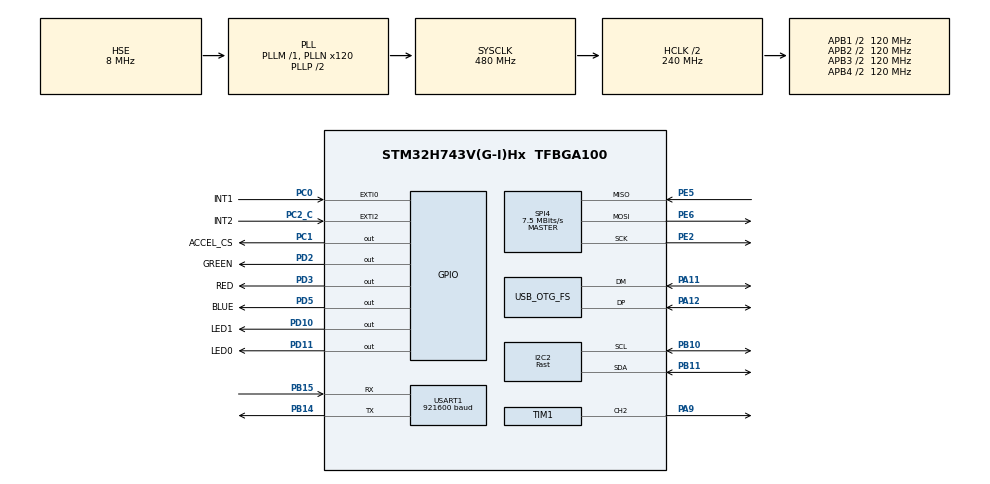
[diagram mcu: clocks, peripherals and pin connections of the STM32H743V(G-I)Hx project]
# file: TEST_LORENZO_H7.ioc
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CORTEX_M7.default_mode_Activation=1
Dma.Request0=USART1_RX
Dma.Request1=TIM1_CH2
Dma.TIM1_CH2.1.Direction=DMA_MEMORY_TO_PERIPH
Dma.TIM1_CH2.1.EventEnable=DISABLE
Dma.TIM1_CH2.1.FIFOMode=DMA_FIFOMODE_DISABLE
Dma.TIM1_CH2.1.Instance=DMA1_Stream0
Dma.TIM1_CH2.1.MemDataAlignment=DMA_MDATAALIGN_WORD
Dma.TIM1_CH2.1.MemInc=DMA_MINC_ENABLE
Dma.TIM1_CH2.1.Mode=DMA_NORMAL
Dma.TIM1_CH2.1.PeriphDataAlignment=DMA_PDATAALIGN_WORD
Dma.TIM1_CH2.1.PeriphInc=DMA_PINC_DISABLE
Dma.TIM1_CH2.1.Polarity=HAL_DMAMUX_REQ_GEN_RISING
Dma.TIM1_CH2.1.Priority=DMA_PRIORITY_LOW
Dma.TIM1_CH2.1.RequestNumber=1
Dma.TIM1_CH2.1.SignalID=NONE
Dma.TIM1_CH2.1.SyncEnable=DISABLE
Dma.TIM1_CH2.1.SyncPolarity=HAL_DMAMUX_SYNC_NO_EVENT
Dma.TIM1_CH2.1.SyncRequestNumber=1
Dma.TIM1_CH2.1.SyncSignalID=NONE
Dma.USART1_RX.0.Direction=DMA_PERIPH_TO_MEMORY
Dma.USART1_RX.0.EventEnable=DISABLE
Dma.USART1_RX.0.FIFOMode=DMA_FIFOMODE_DISABLE
Dma.USART1_RX.0.Instance=DMA1_Stream1
Dma.USART1_RX.0.MemDataAlignment=DMA_MDATAALIGN_BYTE
Dma.USART1_RX.0.MemInc=DMA_MINC_ENABLE
Dma.USART1_RX.0.Mode=DMA_CIRCULAR
Dma.USART1_RX.0.PeriphDataAlignment=DMA_PDATAALIGN_BYTE
Dma.USART1_RX.0.PeriphInc=DMA_PINC_DISABLE
Dma.USART1_RX.0.Polarity=HAL_DMAMUX_REQ_GEN_RISING
Dma.USART1_RX.0.Priority=DMA_PRIORITY_LOW
Dma.USART1_RX.0.RequestNumber=1
Dma.USART1_RX.0.SignalID=NONE
Dma.USART1_RX.0.SyncEnable=DISABLE
Dma.USART1_RX.0.SyncPolarity=HAL_DMAMUX_SYNC_NO_EVENT
Dma.USART1_RX.0.SyncRequestNumber=1
Dma.USART1_RX.0.SyncSignalID=NONE
FREERTOS.INCLUDE_uxTaskGetStackHighWaterMark2=1
FREERTOS.INCLUDE_vTaskDelayUntil=1
FREERTOS.Tasks01=maintask,0,256,Startmaintask,Default,NULL,Dynamic,NULL,NULL;lidarparse,-3,500,Startlidarparse,Default,NULL,Dynamic,NULL,NULL
FREERTOS.configUSE_NEWLIB_REENTRANT=1
I2C2.I2C_Speed_Mode=I2C_Fast
I2C2.Timing=0x00B03FDB
Mcu.Family=STM32H7
Mcu.Name=STM32H743V(G-I)Hx
Mcu.Package=TFBGA100
NVIC.DMA1_Stream0_IRQn=true\:5\:0\:false\:false\:true\:true\:false\:true\:true
NVIC.DMA1_Stream1_IRQn=true\:5\:0\:false\:false\:true\:true\:false\:true\:true
NVIC.EXTI0_IRQn=true\:5\:0\:false\:false\:true\:true\:true\:true\:true
NVIC.EXTI2_IRQn=true\:5\:0\:false\:false\:true\:true\:true\:true\:true
NVIC.OTG_FS_IRQn=true\:5\:0\:false\:false\:true\:true\:false\:true\:true
NVIC.PriorityGroup=NVIC_PRIORITYGROUP_4
NVIC.TIM2_IRQn=true\:15\:0\:false\:false\:true\:false\:false\:true\:true
NVIC.TimeBase=TIM2_IRQn
NVIC.TimeBaseIP=TIM2
PA11.Mode=Device_Only
PA11.Signal=USB_OTG_FS_DM
PA12.Mode=Device_Only
PA12.Signal=USB_OTG_FS_DP
PA13\ (JTMS/SWDIO).Mode=Serial_Wire
PA13\ (JTMS/SWDIO).Signal=DEBUG_JTMS-SWDIO
PA14\ (JTCK/SWCLK).Mode=Serial_Wire
PA14\ (JTCK/SWCLK).Signal=DEBUG_JTCK-SWCLK
PA9.Signal=S_TIM1_CH2
PB10.GPIO_Pu=GPIO_NOPULL
PB10.Mode=I2C
PB10.Signal=I2C2_SCL
PB11.GPIO_Pu=GPIO_NOPULL
PB11.Mode=I2C
PB11.Signal=I2C2_SDA
PB14.Mode=Asynchronous
PB14.Signal=USART1_TX
PB15.Mode=Asynchronous
PB15.Signal=USART1_RX
PC0.GPIO_Label=INT1
PC0.GPIO_ModeDefaultEXTI=GPIO_MODE_IT_RISING
PC0.Signal=GPXTI0
PC1.GPIO_Label=ACCEL_CS
PC1.Signal=GPIO_Output
PC2_C.GPIO_Label=INT2
PC2_C.Signal=GPXTI2
PD10.GPIO_Label=LED1
PD10.Signal=GPIO_Output
PD11.GPIO_Label=LED0
PD11.Signal=GPIO_Output
PD2.GPIO_Label=GREEN
PD2.Signal=GPIO_Output
PD3.GPIO_Label=RED
PD3.Signal=GPIO_Output
PD5.GPIO_Label=BLUE
PD5.Signal=GPIO_Output
PE2.Mode=Full_Duplex_Master
PE2.Signal=SPI4_SCK
PE5.Mode=Full_Duplex_Master
PE5.Signal=SPI4_MISO
PE6.Mode=Full_Duplex_Master
PE6.Signal=SPI4_MOSI
PH0-OSC_IN\ (PH0).Mode=HSE-External-Oscillator
PH0-OSC_IN\ (PH0).Signal=RCC_OSC_IN
PH1-OSC_OUT\ (PH1).Mode=HSE-External-Oscillator
PH1-OSC_OUT\ (PH1).Signal=RCC_OSC_OUT
ProjectManager.HeapSize=0x200
ProjectManager.StackSize=0x400
ProjectManager.TargetToolchain=STM32CubeIDE
RCC.ADCFreq_Value=75000000
RCC.APB1Freq_Value=120000000
RCC.APB2Freq_Value=120000000
RCC.APB3Freq_Value=120000000
RCC.APB4Freq_Value=120000000
RCC.CortexFreq_Value=480000000
RCC.D1PPRE=RCC_APB3_DIV2
RCC.D2PPRE1=RCC_APB1_DIV2
RCC.D2PPRE2=RCC_APB2_DIV2
RCC.D3PPRE=RCC_APB4_DIV2
RCC.DIVM1=1
RCC.DIVM2=8
RCC.DIVM3=2
RCC.DIVN1=120
RCC.DIVN2=150
RCC.DIVN3=130
RCC.DIVP3=10
RCC.HCLKFreq_Value=240000000
RCC.HPRE=RCC_HCLK_DIV2
RCC.HSE_VALUE=8000000
RCC.PLL2FRACN=0
RCC.PLL3FRACN=0
RCC.PLLFRACN=0
RCC.PLLSourceVirtual=RCC_PLLSOURCE_HSE
RCC.SAI23CLockSelection=RCC_SAI23CLKSOURCE_PLL2
RCC.SPI123CLockSelection=RCC_SPI123CLKSOURCE_PLL3
RCC.SYSCLKFreq_VALUE=480000000
RCC.SYSCLKSource=RCC_SYSCLKSOURCE_PLLCLK
RCC.USBCLockSelection=RCC_USBCLKSOURCE_HSI48
RCC.USBFreq_Value=48000000
SH.S_TIM1_CH2.0=TIM1_CH2,PWM Generation2 CH2
SPI4.BaudRatePrescaler=SPI_BAUDRATEPRESCALER_16
SPI4.CLKPhase=SPI_PHASE_2EDGE
SPI4.CLKPolarity=SPI_POLARITY_HIGH
SPI4.CalculateBaudRate=7.5 MBits/s
SPI4.DataSize=SPI_DATASIZE_8BIT
SPI4.Direction=SPI_DIRECTION_2LINES
SPI4.Mode=SPI_MODE_MASTER
SPI4.VirtualType=VM_MASTER
TIM1.AutoReloadPreload=TIM_AUTORELOAD_PRELOAD_ENABLE
TIM1.Channel-PWM\ Generation2\ CH2=TIM_CHANNEL_2
TIM1.Period=100-1
TIM1.Prescaler=3-1
USART1.BaudRate=921600
USART1.VirtualMode-Asynchronous=VM_ASYNC
USB_DEVICE.CLASS_NAME_FS=CDC
USB_DEVICE.VirtualMode-CDC_FS=Cdc
USB_DEVICE.VirtualModeFS=Cdc_FS
USB_OTG_FS.VirtualMode=Device_Only
VP_FREERTOS_VS_CMSIS_V1.Mode=CMSIS_V1
VP_MEMORYMAP_VS_MEMORYMAP.Mode=CurAppReg
VP_SYS_VS_tim2.Mode=TIM2
VP_TIM1_VS_ClockSourceINT.Mode=Internal
VP_USB_DEVICE_VS_USB_DEVICE_CDC_FS.Mode=CDC_FS
board=custom

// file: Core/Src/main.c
/* USER CODE BEGIN Header */
/**
  ******************************************************************************
  * @file           : main.c
  * @brief          : Main program body
  ******************************************************************************
  * @attention
  *
  * Copyright (c) 2025 STMicroelectronics.
  * All rights reserved.
  *
  * This software is licensed under terms that can be found in the LICENSE file
  * in the root directory of this software component.
  * If no LICENSE file comes with this software, it is provided AS-IS.
  *
  ******************************************************************************
  */
/* USER CODE END Header */
#include "main.h"
#include "cmsis_os.h"
#include "dma.h"
#include "i2c.h"
#include "spi.h"
#include "tim.h"
#include "usart.h"
#include "usb_device.h"
#include "gpio.h"

/* USER CODE BEGIN Includes */
#include "ylidar.h"
#include "adxl343.h"
#include "ssd1306.h"
#include "led.h"
#include "mcc_com_master.h"
/* USER CODE END Includes */

/* USER CODE BEGIN PV */
//extern uint8_t ylidar_circular_buffer[YLIDAR_CIRC_BUF_SIZE];
adxl343_t adxldata;
int flag=0;
uint32_t LEDDMABUF[DMABUFLEN];
uint8_t DMA_COMPLETE_FLAG=0;
extern MOTOR_COM com_struct;

/* USER CODE END PV */

void SystemClock_Config(void);
static void MPU_Config(void);
void MX_FREERTOS_Init(void);

/* USER CODE BEGIN 0 */

void HAL_GPIO_EXTI_Callback(uint16_t GPIO_Pin){

	if(GPIO_Pin == GPIO_PIN_0){

		if(flag == 0 ){
			LED_Setcolour(255,0,0,0,0,255);

		}
		if(flag == 1){
			LED_Setcolour(0,0,255,255,0,0);

		}

		flag=1-flag;

		ADXL343_INT_HANDLER(&adxldata, 100);
	}
}

void HAL_TIM_PWM_PulseFinishedCallback(TIM_HandleTypeDef *htim){

	LED_Callback();
}

void HAL_UART_TxCpltCallback(UART_HandleTypeDef *huart)
{
    if (huart->Instance == USART1)
    {
        com_struct.tx_flag=0;
    }
}
void HAL_UART_RxHalfCpltCallback(UART_HandleTypeDef *huart)
{

    if (huart->Instance == USART1)
    {
#ifdef NORMAL_MODE
        com_struct.write_index=(uint16_t)(MOTOR_COM_RX_BUF_SIZE / 2u);
#endif
#ifdef DEBUG_MODE
        (void)CDC_Transmit_FS(&com_struct.dbg_rx_buf[0],DEBUG_RX_BUF_SIZE / 2u);
#endif
    }

}

void HAL_UART_RxCpltCallback(UART_HandleTypeDef *huart)
{

    if (huart->Instance == USART1)
    {
#ifdef NORMAL_MODE
        com_struct.write_index=0;
#endif
#ifdef DEBUG_MODE
        (void)CDC_Transmit_FS(&com_struct.dbg_rx_buf[DEBUG_RX_BUF_SIZE / 2u], DEBUG_RX_BUF_SIZE / 2u);
#endif
    }

}

/* USER CODE END 0 */

int main(void)
{

  /* MPU Configuration--------------------------------------------------------*/
  MPU_Config();

  /* MCU Configuration--------------------------------------------------------*/

  /* Reset of all peripherals, Initializes the Flash interface and the Systick. */
  HAL_Init();

  /* Configure the system clock */
  SystemClock_Config();

  /* Initialize all configured peripherals */
  MX_GPIO_Init();
  MX_DMA_Init();
  MX_SPI4_Init();
  MX_I2C2_Init();
  MX_TIM1_Init();
  MX_USART1_UART_Init();
  /* USER CODE BEGIN 2 */

//  HAL_UART_Abort(&huart8);
//  HAL_UART_Receive_DMA(&huart8, (uint8_t *)ylidar_circular_buffer, YLIDAR_CIRC_BUF_SIZE);
//  __HAL_DMA_ENABLE_IT(huart8.hdmarx,DMA_IT_HT);

  MotorCom_Init(&com_struct,&huart1);

  ADXL343_Init(&adxldata, &hspi4, ACCEL_CS_GPIO_Port, ACCEL_CS_Pin,ADXL343_BW_RATE_VALUE, ADXL343_DATA_FMT_RANGE_4G,100);

  LED_Init();

  LED_Setcolour(0,255,0,0,255,0);

//  ssd1306_Init();
//  ssd1306_Fill(White);
//  ssd1306_SetCursor(32,32);
//  ssd1306_UpdateScreen();

  /* USER CODE END 2 */

  /* Call init function for freertos objects (in cmsis_os2.c) */
  MX_FREERTOS_Init();

  /* Start scheduler */
  osKernelStart();

  /* We should never get here as control is now taken by the scheduler */

  /* Infinite loop */
  while (1)
  {

  }
}

void SystemClock_Config(void)
{
  RCC_OscInitTypeDef RCC_OscInitStruct = {0};
  RCC_ClkInitTypeDef RCC_ClkInitStruct = {0};

  /** Supply configuration update enable
  */
  HAL_PWREx_ConfigSupply(PWR_LDO_SUPPLY);

  /** Configure the main internal regulator output voltage
  */
  __HAL_PWR_VOLTAGESCALING_CONFIG(PWR_REGULATOR_VOLTAGE_SCALE0);

  while(!__HAL_PWR_GET_FLAG(PWR_FLAG_VOSRDY)) {}

  /** Initializes the RCC Oscillators according to the specified parameters
  * in the RCC_OscInitTypeDef structure.
  */
  RCC_OscInitStruct.OscillatorType = RCC_OSCILLATORTYPE_HSI48|RCC_OSCILLATORTYPE_HSE;
  RCC_OscInitStruct.HSEState = RCC_HSE_ON;
  RCC_OscInitStruct.HSI48State = RCC_HSI48_ON;
  RCC_OscInitStruct.PLL.PLLState = RCC_PLL_ON;
  RCC_OscInitStruct.PLL.PLLSource = RCC_PLLSOURCE_HSE;
  RCC_OscInitStruct.PLL.PLLM = 1;
  RCC_OscInitStruct.PLL.PLLN = 120;
  RCC_OscInitStruct.PLL.PLLP = 2;
  RCC_OscInitStruct.PLL.PLLQ = 2;
  RCC_OscInitStruct.PLL.PLLR = 2;
  RCC_OscInitStruct.PLL.PLLRGE = RCC_PLL1VCIRANGE_3;
  RCC_OscInitStruct.PLL.PLLVCOSEL = RCC_PLL1VCOWIDE;
  RCC_OscInitStruct.PLL.PLLFRACN = 0;
  if (HAL_RCC_OscConfig(&RCC_OscInitStruct) != HAL_OK)
  {
    Error_Handler();
  }

  /** Initializes the CPU, AHB and APB buses clocks
  */
  RCC_ClkInitStruct.ClockType = RCC_CLOCKTYPE_HCLK|RCC_CLOCKTYPE_SYSCLK
                              |RCC_CLOCKTYPE_PCLK1|RCC_CLOCKTYPE_PCLK2
                              |RCC_CLOCKTYPE_D3PCLK1|RCC_CLOCKTYPE_D1PCLK1;
  RCC_ClkInitStruct.SYSCLKSource = RCC_SYSCLKSOURCE_PLLCLK;
  RCC_ClkInitStruct.SYSCLKDivider = RCC_SYSCLK_DIV1;
  RCC_ClkInitStruct.AHBCLKDivider = RCC_HCLK_DIV2;
  RCC_ClkInitStruct.APB3CLKDivider = RCC_APB3_DIV2;
  RCC_ClkInitStruct.APB1CLKDivider = RCC_APB1_DIV2;
  RCC_ClkInitStruct.APB2CLKDivider = RCC_APB2_DIV2;
  RCC_ClkInitStruct.APB4CLKDivider = RCC_APB4_DIV2;

  if (HAL_RCC_ClockConfig(&RCC_ClkInitStruct, FLASH_LATENCY_4) != HAL_OK)
  {
    Error_Handler();
  }
}

 /* MPU Configuration */

void MPU_Config(void)
{
  MPU_Region_InitTypeDef MPU_InitStruct = {0};

  /* Disables the MPU */
  HAL_MPU_Disable();

  /** Initializes and configures the Region and the memory to be protected
  */
  MPU_InitStruct.Enable = MPU_REGION_ENABLE;
  MPU_InitStruct.Number = MPU_REGION_NUMBER0;
  MPU_InitStruct.BaseAddress = 0x0;
  MPU_InitStruct.Size = MPU_REGION_SIZE_4GB;
  MPU_InitStruct.SubRegionDisable = 0x87;
  MPU_InitStruct.TypeExtField = MPU_TEX_LEVEL0;
  MPU_InitStruct.AccessPermission = MPU_REGION_NO_ACCESS;
  MPU_InitStruct.DisableExec = MPU_INSTRUCTION_ACCESS_DISABLE;
  MPU_InitStruct.IsShareable = MPU_ACCESS_SHAREABLE;
  MPU_InitStruct.IsCacheable = MPU_ACCESS_NOT_CACHEABLE;
  MPU_InitStruct.IsBufferable = MPU_ACCESS_NOT_BUFFERABLE;

  HAL_MPU_ConfigRegion(&MPU_InitStruct);
  /* Enables the MPU */
  HAL_MPU_Enable(MPU_PRIVILEGED_DEFAULT);

}

void HAL_TIM_PeriodElapsedCallback(TIM_HandleTypeDef *htim)
{
  if (htim->Instance == TIM2)
  {
    HAL_IncTick();
  }
}

void Error_Handler(void)
{
  __disable_irq();
  while (1)
  {
  }
}

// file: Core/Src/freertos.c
/* USER CODE BEGIN Header */
/**
  ******************************************************************************
  * File Name          : freertos.c
  * Description        : Code for freertos applications
  ******************************************************************************
  * @attention
  *
  * Copyright (c) 2025 STMicroelectronics.
  * All rights reserved.
  *
  * This software is licensed under terms that can be found in the LICENSE file
  * in the root directory of this software component.
  * If no LICENSE file comes with this software, it is provided AS-IS.
  *
  ******************************************************************************
  */
/* USER CODE END Header */

#include "FreeRTOS.h"
#include "task.h"
#include "main.h"
#include "cmsis_os.h"

/* USER CODE BEGIN Includes */
#include "ylidar.h"
#include "adxl343.h"
#include "mcc_com_master.h"
/* USER CODE END Includes */

/* USER CODE BEGIN Variables */
extern uint16_t ylidar_read_index;
extern uint16_t ylidar_write_index;

extern uint8_t ylidar_finalbuffer[1024];
extern adxl343_t adxldata;
extern MOTOR_COM com_struct;

/* USER CODE END Variables */
osThreadId maintaskHandle;
osThreadId lidarparseHandle;

void Startmaintask(void const * argument);
void Startlidarparse(void const * argument);

extern void MX_USB_DEVICE_Init(void);
void MX_FREERTOS_Init(void); /* (MISRA C 2004 rule 8.1) */

/* GetIdleTaskMemory prototype (linked to static allocation support) */
void vApplicationGetIdleTaskMemory( StaticTask_t **ppxIdleTaskTCBBuffer, StackType_t **ppxIdleTaskStackBuffer, uint32_t *pulIdleTaskStackSize );

/* USER CODE BEGIN GET_IDLE_TASK_MEMORY */
static StaticTask_t xIdleTaskTCBBuffer;
static StackType_t xIdleStack[configMINIMAL_STACK_SIZE];

void vApplicationGetIdleTaskMemory( StaticTask_t **ppxIdleTaskTCBBuffer, StackType_t **ppxIdleTaskStackBuffer, uint32_t *pulIdleTaskStackSize )
{
  *ppxIdleTaskTCBBuffer = &xIdleTaskTCBBuffer;
  *ppxIdleTaskStackBuffer = &xIdleStack[0];
  *pulIdleTaskStackSize = configMINIMAL_STACK_SIZE;
  /* place for user code */
}
/* USER CODE END GET_IDLE_TASK_MEMORY */

void MX_FREERTOS_Init(void) {

  /* Create the thread(s) */
  /* definition and creation of maintask */
  osThreadDef(maintask, Startmaintask, osPriorityNormal, 0, 256);
  maintaskHandle = osThreadCreate(osThread(maintask), NULL);

  /* definition and creation of lidarparse */
  osThreadDef(lidarparse, Startlidarparse, osPriorityIdle, 0, 500);
  lidarparseHandle = osThreadCreate(osThread(lidarparse), NULL);

}

void Startmaintask(void const * argument)
{
  /* init code for USB_DEVICE */
  MX_USB_DEVICE_Init();
  /* USER CODE BEGIN Startmaintask */
  TickType_t xLastWakeTime;
  const TickType_t period = pdMS_TO_TICKS(5000);
  int i=0;

  xLastWakeTime = xTaskGetTickCount();
  /* Infinite loop */
  for(;;)
  {
	  switch(i){
	  case 0:
		  com_struct.w0=154.0f;
		  com_struct.w1=110.0f;
		  com_struct.w2=43.0f;
		  i++;
		  break;
	  case 1:
		  com_struct.w0=74.0f;
		  com_struct.w1=195.0f;
		  com_struct.w2=14.0f;
		  i--;
		  break;
	  }

	   HAL_GPIO_TogglePin(GPIOD,GPIO_PIN_11);
	   vTaskDelayUntil(&xLastWakeTime, period);
  }
  /* USER CODE END Startmaintask */
}

void Startlidarparse(void const * argument)
{
  /* USER CODE BEGIN Startlidarparse */
    TickType_t xLastWakeTime;
    const TickType_t period = pdMS_TO_TICKS(5);

    xLastWakeTime = xTaskGetTickCount();

  /* Infinite loop */
  for(;;)
  {

	  vTaskDelayUntil(&xLastWakeTime, period);
  }
  /* USER CODE END Startlidarparse */
}
